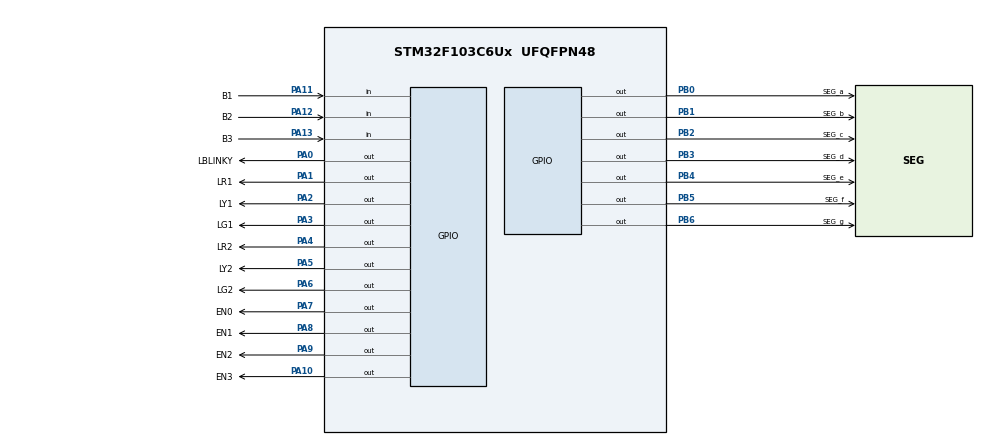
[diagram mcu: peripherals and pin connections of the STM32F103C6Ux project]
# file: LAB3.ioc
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Mcu.Family=STM32F1
Mcu.Name=STM32F103C6Ux
Mcu.Package=UFQFPN48
NVIC.PriorityGroup=NVIC_PRIORITYGROUP_4
NVIC.TIM2_IRQn=true\:0\:0\:false\:false\:true\:true\:true
PA0-WKUP.GPIO_Label=LBLINKY
PA0-WKUP.Signal=GPIO_Output
PA1.GPIO_Label=LR1
PA1.Signal=GPIO_Output
PA10.GPIO_Label=EN3
PA10.Signal=GPIO_Output
PA11.GPIO_Label=B1
PA11.GPIO_PuPd=GPIO_PULLUP
PA11.Signal=GPIO_Input
PA12.GPIO_Label=B2
PA12.GPIO_PuPd=GPIO_PULLUP
PA12.Signal=GPIO_Input
PA13.GPIO_Label=B3
PA13.GPIO_PuPd=GPIO_PULLUP
PA13.Signal=GPIO_Input
PA2.GPIO_Label=LY1
PA2.Signal=GPIO_Output
PA3.GPIO_Label=LG1
PA3.Signal=GPIO_Output
PA4.GPIO_Label=LR2
PA4.Signal=GPIO_Output
PA5.GPIO_Label=LY2
PA5.Signal=GPIO_Output
PA6.GPIO_Label=LG2
PA6.Signal=GPIO_Output
PA7.GPIO_Label=EN0
PA7.Signal=GPIO_Output
PA8.GPIO_Label=EN1
PA8.Signal=GPIO_Output
PA9.GPIO_Label=EN2
PA9.Signal=GPIO_Output
PB0.GPIO_Label=SEG_a
PB0.Signal=GPIO_Output
PB1.GPIO_Label=SEG_b
PB1.Signal=GPIO_Output
PB2.GPIO_Label=SEG_c
PB2.Signal=GPIO_Output
PB3.GPIO_Label=SEG_d
PB3.Signal=GPIO_Output
PB4.GPIO_Label=SEG_e
PB4.Signal=GPIO_Output
PB5.GPIO_Label=SEG_f
PB5.Signal=GPIO_Output
PB6.GPIO_Label=SEG_g
PB6.Signal=GPIO_Output
ProjectManager.HeapSize=0x200
ProjectManager.StackSize=0x400
ProjectManager.TargetToolchain=STM32CubeIDE
RCC.APB1Freq_Value=8000000
RCC.APB2Freq_Value=8000000
TIM2.Period=9
TIM2.Prescaler=7999
VP_SYS_VS_ND.Mode=No_Debug
VP_TIM2_VS_ClockSourceINT.Mode=Internal
board=custom

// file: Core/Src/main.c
/* USER CODE BEGIN Header */
/**
  ******************************************************************************
  * @file           : main.c
  * @brief          : Main program body
  ******************************************************************************
  * @attention
  *
  * <h2><center>&copy; Copyright (c) 2025 STMicroelectronics.
  * All rights reserved.</center></h2>
  *
  * This software component is licensed by ST under BSD 3-Clause license,
  * the "License"; You may not use this file except in compliance with the
  * License. You may obtain a copy of the License at:
  *                        opensource.org/licenses/BSD-3-Clause
  *
  ******************************************************************************
  */
/* USER CODE END Header */
#include "main.h"

/* USER CODE BEGIN Includes */
#include "global.h"
#include "fsm_automatic.h"
#include "fsm_manual.h"
/* USER CODE END Includes */

TIM_HandleTypeDef htim2;

void SystemClock_Config(void);
static void MX_GPIO_Init(void);
static void MX_TIM2_Init(void);

int main(void)
{

  /* MCU Configuration--------------------------------------------------------*/

  /* Reset of all peripherals, Initializes the Flash interface and the Systick. */
  HAL_Init();

  /* Configure the system clock */
  SystemClock_Config();

  /* Initialize all configured peripherals */
  MX_GPIO_Init();
  MX_TIM2_Init();
  /* USER CODE BEGIN 2 */
  HAL_TIM_Base_Start_IT(&htim2);
  status = INIT;
  /* USER CODE END 2 */

  /* Infinite loop */
  /* USER CODE BEGIN WHILE */
  setTimer(3, 125);
  setTimer(4, 1000);
  while (1)
  {
	  if (isTimerExpired(4)) {
		  setTimer(4, 1000);
		  HAL_GPIO_TogglePin(LBLINKY_GPIO_Port, LBLINKY_Pin);
	  }
	  if (isButtonPressed(0) == 1) {
		  if (status == INIT || (status >= AUTO_RED_GREEN && status <= AUTO_AMBER_RED)) {
			  status = MAN_RED;
			  turnOffAllLEDs();
			  temp_red = time_red;
			  temp_amber = time_amber;
			  temp_green = time_green;
			  setTimer(2, 500);
			  updateLEDBuffer(2, temp_red);
		  }
		  else if (status == MAN_RED) {
			  status = MAN_AMBER;
			  turnOffAllLEDs();
			  updateLEDBuffer(3, temp_amber);
		  }
		  else if (status == MAN_AMBER) {
			  status = MAN_GREEN;
			  turnOffAllLEDs();
			  updateLEDBuffer(4, temp_green);
		  }
		  else if (status == MAN_GREEN) {
			  temp_red = time_red;
			  temp_amber = time_amber;
			  temp_green = time_green;
			  status = INIT;
			  turnOffAllLEDs();
		  }
	  }

	  if (status == INIT || (status >= AUTO_RED_GREEN && status <= AUTO_AMBER_RED)) {
		  fsm_automatic_run();
	  }
	  else if (status >= MAN_RED && status <= MAN_GREEN) {
		  fsm_manual_run();
	  }

	  scanLED();
    /* USER CODE END WHILE */

  }
}

void SystemClock_Config(void)
{
  RCC_OscInitTypeDef RCC_OscInitStruct = {0};
  RCC_ClkInitTypeDef RCC_ClkInitStruct = {0};

  /** Initializes the RCC Oscillators according to the specified parameters
  * in the RCC_OscInitTypeDef structure.
  */
  RCC_OscInitStruct.OscillatorType = RCC_OSCILLATORTYPE_HSI;
  RCC_OscInitStruct.HSIState = RCC_HSI_ON;
  RCC_OscInitStruct.HSICalibrationValue = RCC_HSICALIBRATION_DEFAULT;
  RCC_OscInitStruct.PLL.PLLState = RCC_PLL_NONE;
  if (HAL_RCC_OscConfig(&RCC_OscInitStruct) != HAL_OK)
  {
    Error_Handler();
  }
  /** Initializes the CPU, AHB and APB buses clocks
  */
  RCC_ClkInitStruct.ClockType = RCC_CLOCKTYPE_HCLK|RCC_CLOCKTYPE_SYSCLK
                              |RCC_CLOCKTYPE_PCLK1|RCC_CLOCKTYPE_PCLK2;
  RCC_ClkInitStruct.SYSCLKSource = RCC_SYSCLKSOURCE_HSI;
  RCC_ClkInitStruct.AHBCLKDivider = RCC_SYSCLK_DIV1;
  RCC_ClkInitStruct.APB1CLKDivider = RCC_HCLK_DIV1;
  RCC_ClkInitStruct.APB2CLKDivider = RCC_HCLK_DIV1;

  if (HAL_RCC_ClockConfig(&RCC_ClkInitStruct, FLASH_LATENCY_0) != HAL_OK)
  {
    Error_Handler();
  }
}

static void MX_TIM2_Init(void)
{

  TIM_ClockConfigTypeDef sClockSourceConfig = {0};
  TIM_MasterConfigTypeDef sMasterConfig = {0};

  htim2.Instance = TIM2;
  htim2.Init.Prescaler = 7999;
  htim2.Init.CounterMode = TIM_COUNTERMODE_UP;
  htim2.Init.Period = 9;
  htim2.Init.ClockDivision = TIM_CLOCKDIVISION_DIV1;
  htim2.Init.AutoReloadPreload = TIM_AUTORELOAD_PRELOAD_DISABLE;
  if (HAL_TIM_Base_Init(&htim2) != HAL_OK)
  {
    Error_Handler();
  }
  sClockSourceConfig.ClockSource = TIM_CLOCKSOURCE_INTERNAL;
  if (HAL_TIM_ConfigClockSource(&htim2, &sClockSourceConfig) != HAL_OK)
  {
    Error_Handler();
  }
  sMasterConfig.MasterOutputTrigger = TIM_TRGO_RESET;
  sMasterConfig.MasterSlaveMode = TIM_MASTERSLAVEMODE_DISABLE;
  if (HAL_TIMEx_MasterConfigSynchronization(&htim2, &sMasterConfig) != HAL_OK)
  {
    Error_Handler();
  }

}

static void MX_GPIO_Init(void)
{
  GPIO_InitTypeDef GPIO_InitStruct = {0};

  /* GPIO Ports Clock Enable */
  __HAL_RCC_GPIOA_CLK_ENABLE();
  __HAL_RCC_GPIOB_CLK_ENABLE();

  /*Configure GPIO pin Output Level */
  HAL_GPIO_WritePin(GPIOA, LBLINKY_Pin|LR1_Pin|LY1_Pin|LG1_Pin
                          |LR2_Pin|LY2_Pin|LG2_Pin|EN0_Pin
                          |EN1_Pin|EN2_Pin|EN3_Pin, GPIO_PIN_RESET);

  /*Configure GPIO pin Output Level */
  HAL_GPIO_WritePin(GPIOB, SEG_a_Pin|SEG_b_Pin|SEG_c_Pin|SEG_d_Pin
                          |SEG_e_Pin|SEG_f_Pin|SEG_g_Pin, GPIO_PIN_RESET);

  /*Configure GPIO pins : LBLINKY_Pin LR1_Pin LY1_Pin LG1_Pin
                           LR2_Pin LY2_Pin LG2_Pin EN0_Pin
                           EN1_Pin EN2_Pin EN3_Pin */
  GPIO_InitStruct.Pin = LBLINKY_Pin|LR1_Pin|LY1_Pin|LG1_Pin
                          |LR2_Pin|LY2_Pin|LG2_Pin|EN0_Pin
                          |EN1_Pin|EN2_Pin|EN3_Pin;
  GPIO_InitStruct.Mode = GPIO_MODE_OUTPUT_PP;
  GPIO_InitStruct.Pull = GPIO_NOPULL;
  GPIO_InitStruct.Speed = GPIO_SPEED_FREQ_LOW;
  HAL_GPIO_Init(GPIOA, &GPIO_InitStruct);

  /*Configure GPIO pins : SEG_a_Pin SEG_b_Pin SEG_c_Pin SEG_d_Pin
                           SEG_e_Pin SEG_f_Pin SEG_g_Pin */
  GPIO_InitStruct.Pin = SEG_a_Pin|SEG_b_Pin|SEG_c_Pin|SEG_d_Pin
                          |SEG_e_Pin|SEG_f_Pin|SEG_g_Pin;
  GPIO_InitStruct.Mode = GPIO_MODE_OUTPUT_PP;
  GPIO_InitStruct.Pull = GPIO_NOPULL;
  GPIO_InitStruct.Speed = GPIO_SPEED_FREQ_LOW;
  HAL_GPIO_Init(GPIOB, &GPIO_InitStruct);

  /*Configure GPIO pins : B1_Pin B2_Pin B3_Pin */
  GPIO_InitStruct.Pin = B1_Pin|B2_Pin|B3_Pin;
  GPIO_InitStruct.Mode = GPIO_MODE_INPUT;
  GPIO_InitStruct.Pull = GPIO_PULLUP;
  HAL_GPIO_Init(GPIOA, &GPIO_InitStruct);

}

/* USER CODE BEGIN 4 */
void HAL_TIM_PeriodElapsedCallback(TIM_HandleTypeDef *htim) {
    if (htim->Instance == TIM2) {
        timerRun();
        getKeyInput();
    }
}
/* USER CODE END 4 */

void Error_Handler(void)
{
  __disable_irq();
  while (1)
  {
  }
}

/************************ (C) COPYRIGHT STMicroelectronics *****END OF FILE****/
